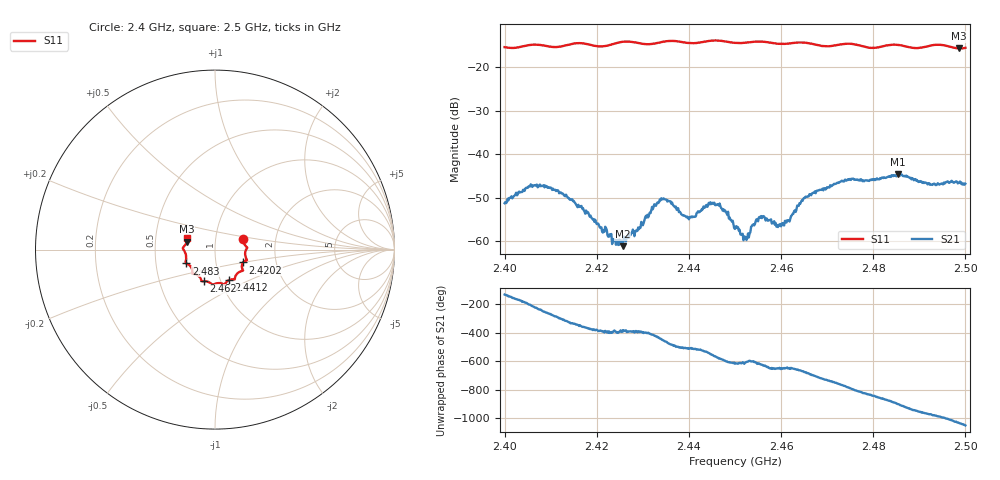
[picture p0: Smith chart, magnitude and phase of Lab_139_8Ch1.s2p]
# Hz S RI R 50
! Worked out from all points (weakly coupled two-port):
!   601 points, 2.4 GHz to 2.5 GHz, reference 50 ohm
!   highest |S21| = -44.59 dB at 2.4853 GHz (marker M1); lowest = -61.1 dB at 2.4257 GHz (marker M2)
!   lowest |S11| = -15.8 dB at 2.4987 GHz (marker M3), VSWR 1.39, Z = 36.3 + j3.25 ohm
!   |S11| at or under -10 dB: start of sweep to end of sweep
!   S12 and S22 are empty: the file has one direction only
!   S11 on the Smith chart (normalised r, x): 2.4 GHz: 1.36, +0.17; 2.4202 GHz: 1.36, -0.20; 2.4412 GHz: 1.09, -0.39; 2.462 GHz: 0.83, -0.30; 2.483 GHz: 0.72, -0.11; 2.5 GHz: 0.73, +0.09
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2.4e9  0.1572 0.0608  -0.00186 -0.00202  0 0  0 0
2.408e9  0.1777 0.00713  -0.00197 0.00385  0 0  0 0
2.416667e9  0.1774 -0.0591  0.00254 0.000221  0 0  0 0
2.420167e9  0.1569 -0.0718  0.00146 -0.000644  0 0  0 0
2.423833e9  0.1518 -0.106  0.000925 -0.000418  0 0  0 0
2.425667e9  0.1562 -0.1156  0.000818 -0.000331  0 0  0 0
2.433333e9  0.1125 -0.1519  0.000888 -0.0026  0 0  0 0
2.435e9  0.1107 -0.1625  -0.00065 -0.00295  0 0  0 0
2.441167e9  0.0757 -0.1714  -0.00173 -0.000832  0 0  0 0
2.445167e9  0.0532 -0.1934  -0.00266 0.000786  0 0  0 0
2.45e9  0.0271 -0.1868  -0.00031 0.00136  0 0  0 0
2.452333e9  0.00462 -0.1896  -0.000429 0.00103  0 0  0 0
2.455667e9  -0.0135 -0.1948  -0.000221 0.00194  0 0  0 0
2.4595e9  -0.0375 -0.1802  0.000537 0.00145  0 0  0 0
2.462e9  -0.0614 -0.176  0.000721 0.00167  0 0  0 0
2.466667e9  -0.0773 -0.1674  0.00322 0.00138  0 0  0 0
2.474333e9  -0.1256 -0.1352  0.00244 -0.00442  0 0  0 0
2.483e9  -0.1589 -0.0772  -0.00476 -0.0026  0 0  0 0
2.483333e9  -0.1607 -0.0765  -0.00509 -0.00224  0 0  0 0
2.485333e9  -0.1645 -0.0709  -0.00589 -3.92e-05  0 0  0 0
2.498667e9  -0.1568 0.0436  0.00323 0.00342  0 0  0 0
2.5e9  -0.1533 0.0624  0.00396 0.00231  0 0  0 0
